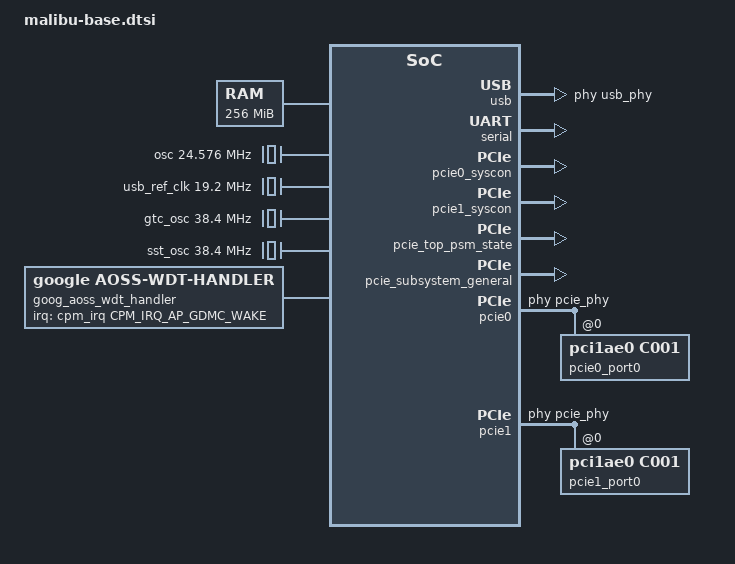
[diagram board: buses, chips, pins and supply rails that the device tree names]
// SPDX-License-Identifier: GPL-2.0 OR BSD-3-Clause

#include <dt-bindings/cap-sysfs/cpu-mbu-power-states.h>
#include <dt-bindings/gpio/gpio.h>
#include <dt-bindings/gpio/google,mbu.h>
#include <dt-bindings/interconnect/google,mbu,irm.h>
#include <dt-bindings/interrupt-controller/irq.h>
#include <dt-bindings/interrupt-controller/irq-cpm-google.h>
#include <dt-bindings/interrupt-controller/arm-gic.h>
#include <dt-bindings/interrupt-controller/mbu-gic.h>
#include <dt-bindings/ip-idle/google,mbu.h>
#include <dt-bindings/lpcm/clock_mbu.h>
#include <dt-bindings/lpcm/pf_state_mbu.h>
#include <dt-bindings/lpcm/reset_mbu.h>
#include <dt-bindings/mailbox/google,mbu.h>
#include <dt-bindings/power/genpd_mbu.h>
#include <dt-bindings/power/syspm/google,mbu.h>
#include <dt-bindings/soc/google/google-wdt-def.h>
#include <dt-bindings/soc/google/keydebug-core-def.h>

// Earlier than all node to be referred
#include "malibu-sswrp.dtsi"
#include "malibu-tpu.dtsi"

#include "malibu-aoc.dtsi"
#include "malibu-audio.dtsi"
#include "malibu-ap-pmic.dtsi"
#include "malibu-cpm-clk.dtsi"
#include "malibu-debug-trace.dtsi"
#include "malibu-dpa.dtsi"
#include "malibu-dpu.dtsi"
#include "malibu-g2d.dtsi"
#include "malibu-gia.dtsi"
#include "malibu-gia-test.dtsi"
#include "malibu-gpdma.dtsi"
#include "malibu-gpu.dtsi"
#include "malibu-gxp.dtsi"
#include "malibu-iif.dtsi"
#include "malibu-interconnect.dtsi"
#include "malibu-isp.dtsi"
#include "malibu-lsios.dtsi"
#include "malibu-mba.dtsi"
#include "malibu-odpm.dtsi"
#include "malibu-pinctrl.dtsi"
#include "malibu-power-domains.dtsi"
#include "malibu-rmem.dtsi"
#include "malibu-smmu.dtsi"
#include "malibu-smmu-perf.dtsi"
#include "malibu-smmu-pmu.dtsi"
#include "malibu-thermal.dtsi"
#include "malibu-towerci.dtsi"
#include "malibu-c3p.dtsi"
#include "malibu-trusty.dtsi"
#include "malibu-dma-heap.dtsi"
#include "malibu-faceauth-dma-heap.dtsi"
#include "malibu-otp.dtsi"
#include "malibu-gsa.dtsi"
#include "malibu-dpm.dtsi"
#include "malibu-wonder.dtsi"

/ {
	build_info = <0x00>;
	compatible = "google,mbu";
	#address-cells = <0x00000002>;
	#size-cells = <0x00000002>;
	interrupt-parent = <&gic>;

	memory: memory@80000000 {
		device_type = "memory";
		reg = <0x00000000 0x80000000 0x00000000 0x10000000>; //256MB for speed
	};

	osc: oscillator {
		#clock-cells = <0>;
		compatible = "fixed-clock";
		clock-frequency = <24576000>;
	};

	timer {
		compatible = "arm,armv8-timer";
		interrupts =
			<GIC_PPI 13 (GIC_CPU_MASK_SIMPLE(1) | IRQ_TYPE_LEVEL_LOW) 0>,  //secure
			<GIC_PPI 14 (GIC_CPU_MASK_SIMPLE(1) | IRQ_TYPE_LEVEL_LOW) 0>,  //NS
			<GIC_PPI 11 (GIC_CPU_MASK_SIMPLE(1) | IRQ_TYPE_LEVEL_LOW) 0>,  //virtual
			<GIC_PPI 10 (GIC_CPU_MASK_SIMPLE(1) | IRQ_TYPE_LEVEL_LOW) 0>;  //hypervisor
	};

	gic: interrupt-controller@9228000 {
		compatible = "arm,gic-v3";
		#interrupt-cells = <0x00000004>;
		#address-cells = <0x00000002>;
		#size-cells = <0x00000002>;
		interrupt-controller;
		ranges;
		reg = <0x0 0x09228000 0 0x00010000>,  // GICD
		      <0x0 0x092a8000 0 0x00200000>,  // GICR
		      <0x0 0x0 0 0x0>,                // GICC
		      <0x0 0x0 0 0x0>,                // GICH
		      <0x0 0x0 0 0x0>;                // GICV
		// Should replace 0 with a ppi-partitions subnode when ppi-partitions are added.
		interrupts = <GIC_PPI 9 IRQ_TYPE_LEVEL_HIGH 0>;
	};

	cpus: cpus {
		#address-cells = <0x00000001>;
		#size-cells = <0x00000000>;

		cpu-map {
			cluster0: cluster0 {
				core0 {
					cpu = <&gelas_ll_0>;
				};
				core1 {
					cpu = <&gelas_ll_1>;
				};
			};

			cluster1: cluster1 {
				core0 {
					cpu = <&gelas_0>;
				};
				core1 {
					cpu = <&gelas_1>;
				};
				core2 {
					cpu = <&gelas_2>;
				};
				core3 {
					cpu = <&gelas_3>;
				};
			};

			cluster2: cluster2 {
				core0 {
					cpu = <&travis_0>;
				};
			};
		};

		gelas_ll_0: cpu@0 {
			device_type = "cpu";
			compatible = "gem5,armv8", "arm,armv8";
			reg = <0x00000000>;
			enable-method = "psci";
			dvfs-helper-domain-name = "cpu0";
			operating-points-v2 = <&cpu_opp_table_mid_ll_core>;
			power-domains = <&CPU_PD0>;
			power-domain-names = "psci";
			capacity-dmips-mhz = <779>;
		};
		gelas_ll_1: cpu@100 {
			device_type = "cpu";
			compatible = "gem5,armv8", "arm,armv8";
			reg = <0x00000100>;
			enable-method = "psci";
			dvfs-helper-domain-name = "cpu0";
			operating-points-v2 = <&cpu_opp_table_mid_ll_core>;
			power-domains = <&CPU_PD1>;
			power-domain-names = "psci";
			capacity-dmips-mhz = <779>;
		};
		gelas_0: cpu@200 {
			device_type = "cpu";
			compatible = "gem5,armv8", "arm,armv8";
			reg = <0x00000200>;
			enable-method = "psci";
			dvfs-helper-domain-name = "cpu1";
			operating-points-v2 = <&cpu_opp_table_mid_core>;
			power-domains = <&CPU_PD2>;
			power-domain-names = "psci";
			capacity-dmips-mhz = <780>;
		};
		gelas_1: cpu@300 {
			device_type = "cpu";
			compatible = "gem5,armv8", "arm,armv8";
			reg = <0x00000300>;
			enable-method = "psci";
			dvfs-helper-domain-name = "cpu1";
			operating-points-v2 = <&cpu_opp_table_mid_core>;
			power-domains = <&CPU_PD3>;
			power-domain-names = "psci";
			capacity-dmips-mhz = <780>;
		};
		gelas_2: cpu@400 {
			device_type = "cpu";
			compatible = "gem5,armv8", "arm,armv8";
			reg = <0x00000400>;
			enable-method = "psci";
			dvfs-helper-domain-name = "cpu1";
			operating-points-v2 = <&cpu_opp_table_mid_core>;
			power-domains = <&CPU_PD4>;
			power-domain-names = "psci";
			capacity-dmips-mhz = <780>;
		};
		gelas_3: cpu@500 {
			device_type = "cpu";
			compatible = "gem5,armv8", "arm,armv8";
			reg = <0x00000500>;
			enable-method = "psci";
			dvfs-helper-domain-name = "cpu1";
			operating-points-v2 = <&cpu_opp_table_mid_core>;
			power-domains = <&CPU_PD5>;
			power-domain-names = "psci";
			capacity-dmips-mhz = <780>;
		};
		travis_0: cpu@600 {
			device_type = "cpu";
			compatible = "gem5,armv8", "arm,armv8";
			reg = <0x00000600>;
			enable-method = "psci";
			dvfs-helper-domain-name = "cpu2";
			operating-points-v2 = <&cpu_opp_table_big_core>;
			power-domains = <&CPU_PD6>;
			power-domain-names = "psci";
			capacity-dmips-mhz = <1024>;
		};

		idle-states {
			entry-method = "psci";

			CPU_LIT_C2: cpu0-idle-state-2 {
				compatible = "arm,idle-state";
				idle-state-name = "cpu-lit-c2";
				arm,psci-suspend-param = <0x40000003>;
				entry-latency-us = <120>;
				exit-latency-us = <300>;
				min-residency-us = <1800>;
				local-timer-stop;
			};
			CPU_MID_C2: cpu1-idle-state-2 {
				compatible = "arm,idle-state";
				idle-state-name = "cpu-mid-c2";
				arm,psci-suspend-param = <0x40000003>;
				entry-latency-us = <120>;
				exit-latency-us = <300>;
				min-residency-us = <1600>;
				local-timer-stop;
			};
			CPU_BIG_C2: cpu2-idle-state-2 {
				compatible = "arm,idle-state";
				idle-state-name = "cpu-big-c2";
				arm,psci-suspend-param = <0x40000003>;
				entry-latency-us = <80>;
				exit-latency-us = <400>;
				min-residency-us = <1300>;
				local-timer-stop;
			};
		};
		domain-idle-states {
			CLUSTER0_C3: cluster0-idle-state-3 {
				compatible = "domain-idle-state";
				idle-state-name = "cluster0-c3";
				arm,psci-suspend-param = <0x40010033>;
				entry-latency-us = <800>;
				exit-latency-us = <700>;
				min-residency-us = <5000>;
				local-timer-stop;
			};
			CLUSTER1_C3: cluster1-idle-state-3 {
				compatible = "domain-idle-state";
				idle-state-name = "cluster1-c3";
				arm,psci-suspend-param = <0x40010033>;
				entry-latency-us = <1000>;
				exit-latency-us = <600>;
				min-residency-us = <5500>;
				local-timer-stop;
			};
			CLUSTER2_C3: cluster2-idle-state-3 {
				compatible = "domain-idle-state";
				idle-state-name = "cluster2-c3";
				arm,psci-suspend-param = <0x40010033>;
				entry-latency-us = <500>;
				exit-latency-us = <1000>;
				min-residency-us = <3000>;
				local-timer-stop;
			};
			CLUSTER_C4_LITE: cluster-idle-state-4-lite {
				compatible = "domain-idle-state";
				idle-state-name = "cluster-c4-lite";
				arm,psci-suspend-param = <0x40020133>;
				entry-latency-us = <1800>;
				exit-latency-us = <2000>;
				min-residency-us = <10000>;
				local-timer-stop;
			};
			CLUSTER_C4_DEEP: cluster-idle-state-4-deep {
				compatible = "domain-idle-state";
				idle-state-name = "cluster-c4-deep";
				arm,psci-suspend-param = <0x40020333>;
				entry-latency-us = <2100>;
				exit-latency-us = <2300>;
				min-residency-us = <12000>;
				local-timer-stop;
			};
			CLUSTER_S3: cluster-idle-state-suspend {
				compatible = "domain-idle-state";
				// TODO(b/291686880): Restore the node
				status = "disabled";
				idle-state-name = "cluster-s3";
				arm,psci-suspend-param = <0x40033333>;
				entry-latency-us = <2147483648>;
				exit-latency-us = <2147483648>;
				min-residency-us = <2147483648>;
				local-timer-stop;
			};
		};

	};
	psci {
		compatible = "arm,psci-1.0";
		method = "smc";

		CPU_PD0: power-domain-cpu0 {
			#power-domain-cells = <0>;
			domain-idle-states = <&CPU_LIT_C2>;
			power-domains = <&CPUCL0>;
		};

		CPU_PD1: power-domain-cpu1 {
			#power-domain-cells = <0>;
			domain-idle-states =  <&CPU_LIT_C2>;
			power-domains = <&CPUCL0>;
		};

		CPU_PD2: power-domain-cpu2 {
			#power-domain-cells = <0>;
			domain-idle-states =  <&CPU_MID_C2>;
			power-domains = <&CPUCL1>;
		};

		CPU_PD3: power-domain-cpu3 {
			#power-domain-cells = <0>;
			domain-idle-states =  <&CPU_MID_C2>;
			power-domains = <&CPUCL1>;
		};

		CPU_PD4: power-domain-cpu4 {
			#power-domain-cells = <0>;
			domain-idle-states =  <&CPU_MID_C2>;
			power-domains = <&CPUCL1>;
		};

		CPU_PD5: power-domain-cpu5 {
			#power-domain-cells = <0>;
			domain-idle-states =  <&CPU_MID_C2>;
			power-domains = <&CPUCL1>;
		};

		CPU_PD6: power-domain-cpu6 {
			#power-domain-cells = <0>;
			domain-idle-states =  <&CPU_BIG_C2>;
			power-domains = <&CPUCL2>;
		};

		CPUCL0: power-domain-cluster-0 {
			#power-domain-cells = <0>;
			domain-idle-states = <&CLUSTER0_C3>;
			power-domains = <&CPU_TOP_CL>;
		};

		CPUCL1: power-domain-cluster-1 {
			#power-domain-cells = <0>;
			domain-idle-states = <&CLUSTER1_C3>;
			power-domains = <&CPU_TOP_CL>;
		};

		CPUCL2: power-domain-cluster-2 {
			#power-domain-cells = <0>;
			domain-idle-states = <&CLUSTER2_C3>;
			power-domains = <&CPU_TOP_CL>;
		};

		CPU_TOP_CL: power-domain-top-cluster {
			#power-domain-cells = <0>;
			domain-idle-states = <&CLUSTER_C4_LITE>, <&CLUSTER_C4_DEEP>;
		};

	};

	gs_domain_idle {
		compatible = "google,gs_domain_idle";

		cpu-cluster-zero {
			power-domains = <&CPUCL0>;
			num-cpu-freq-policies = <1>;
			cpu-freq-policies = <0>;
		};

		cpu-cluster-one {
			power-domains = <&CPUCL1>;
			num-cpu-freq-policies = <1>;
			cpu-freq-policies = <1>;
		};

		cpu_cluster_two: cpu-cluster-two {
			power-domains = <&CPUCL2>;
			num-cpu-freq-policies = <1>;
			cpu-freq-policies = <2>;
		};

		cpu-cluster-top {
			power-domains = <&CPU_TOP_CL>;
			num-cpu-freq-policies = <0>;
		};
	};

	dvfs_helper: dvfs_helper {
		compatible = "google,dvfs-helper";
		mboxes = <&goog_mba_cpm_iface>;
	};

	mbfs_cpm_backend0_label: mbfs_cpm_backend0 {
		compatible = "google,mbfs_cpm_backend";
		mboxes = <&goog_mba_cpm_iface>;
		service-idx = <0x14>;
		status = "disabled";
	};

	cap_sysfs {
		compatible = "google,cap-sysfs";

		cap_statsbuf: cap_statsbuf@21910C08 {
			#address-cells = <2>;
			#size-cells = <2>;
			reg = <0 0x21910C08 0 0x13F8>;
		};

		tfa_cpu_stats: tfa_cpu_stats@8b20f000 {
			reg = <0 0x8b20f000 0 0x1000>;
			states = <C2_CORE0>,
				<C2_CORE1>,
				<C2_CORE2>,
				<C2_CORE3>,
				<C2_CORE4>,
				<C2_CORE5>,
				<C2_CORE6>;

			states-verbose = "C2 - Core 0",
						"C2 - Core 1",
						"C2 - Core 2",
						"C2 - Core 3",
						"C2 - Core 4",
						"C2 - Core 5",
						"C2 - Core 6";
		};
	};

	cpu_opp_table_mid_ll_core: cpu-opp-table-mid-ll-core {
                opp-shared;
        };

        cpu_opp_table_mid_core: cpu-opp-table-mid-core {
                opp-shared;
        };

        cpu_opp_table_big_core: cpu-opp-table-big-core {
                opp-shared;
        };

	irm_gmc_freq: irm_gmc_freq {
		compatible = "google,irm-devfreq";
		irm-client-idx = <IRM_IDX_APC>;
		irm-min-clamp-reg = <0x1c>;
		irm-trigger-reg = <0x24>;
		gmc-memss-table =
			/* gmc		memss */
			/bits/ 64 < 421000000	175000000 >,
			/bits/ 64 < 533000000	175000000 >,
			/bits/ 64 < 666000000	268000000 >,
			/bits/ 64 < 1066000000	537000000 >,
			/bits/ 64 < 1374000000	614000000 >,
			/bits/ 64 < 1500000000	750000000 >,
			/bits/ 64 < 2133000000	844000000 >,
			/bits/ 64 < 2400000000	844000000 >,
			/bits/ 64 < 2764000000	1056000000 >,
			/bits/ 64 < 3199000000	1056000000 >,
			/bits/ 64 < 3750000000	1200000000 >,
			/bits/ 64 < 4224000000	1200000000 >,
			/bits/ 64 < 4800000000	1200000000 >;

		gmc_dvfs {
			dvfs-helper-domain-name = "gmc0";
		};
		memss_dvfs {
			dvfs-helper-domain-name = "memss";
		};

		vote_manager {
			powerhint_min_freq = <1066000000>;
		};
	};

	gs_perf_mon: gs_perf_mon {
		compatible = "google,gs_perf_mon";
		param_ticks_per_counter_update = <2>;
		client_update_backup_us = <10000>;
		client_update_interval_us = <8000>;
		gs_perf_cpu {
			cpu0 {
				cpu_idx = <0>;
				pmu_events {
					l2-cachemiss-ev = <0x17>;
					l3-cachemiss-ev = <0x2A>;
					mem-rd-inst-ev = <0x66>;
					mem-wr-inst-ev = <0x67>;
					cme-inst-ev = <0x3247>;
				};
				amu_events {
					inst-ev = <0x0008>;
					cyc-ev = <0x0011>;
					stall-backend-mem-ev = <0x4005>;
				};
			};
			cpu1 {
				cpu_idx = <1>;
				pmu_events {
					l2-cachemiss-ev = <0x17>;
					l3-cachemiss-ev = <0x2A>;
					mem-rd-inst-ev = <0x66>;
					mem-wr-inst-ev = <0x67>;
					cme-inst-ev = <0x3247>;
				};
				amu_events {
					inst-ev = <0x0008>;
					cyc-ev = <0x0011>;
					stall-backend-mem-ev = <0x4005>;
				};
			};
			cpu2 {
				cpu_idx = <2>;
				pmu_events {
					l2-cachemiss-ev = <0x17>;
					l3-cachemiss-ev = <0x2A>;
					mem-rd-inst-ev = <0x66>;
					mem-wr-inst-ev = <0x67>;
					cme-inst-ev = <0x3247>;
				};
				amu_events {
					inst-ev = <0x0008>;
					cyc-ev = <0x0011>;
					stall-backend-mem-ev = <0x4005>;
				};
			};
			cpu3 {
				cpu_idx = <3>;
				pmu_events {
					l2-cachemiss-ev = <0x17>;
					l3-cachemiss-ev = <0x2A>;
					mem-rd-inst-ev = <0x66>;
					mem-wr-inst-ev = <0x67>;
					cme-inst-ev = <0x3247>;
				};
				amu_events {
					inst-ev = <0x0008>;
					cyc-ev = <0x0011>;
					stall-backend-mem-ev = <0x4005>;
				};
			};
			cpu4 {
				cpu_idx = <4>;
				pmu_events {
					l2-cachemiss-ev = <0x17>;
					l3-cachemiss-ev = <0x2A>;
					mem-rd-inst-ev = <0x66>;
					mem-wr-inst-ev = <0x67>;
					cme-inst-ev = <0x3247>;
				};
				amu_events {
					inst-ev = <0x0008>;
					cyc-ev = <0x0011>;
					stall-backend-mem-ev = <0x4005>;
				};
			};
			cpu5 {
				cpu_idx = <5>;
				pmu_events {
					l2-cachemiss-ev = <0x17>;
					l3-cachemiss-ev = <0x2A>;
					mem-rd-inst-ev = <0x66>;
					mem-wr-inst-ev = <0x67>;
					cme-inst-ev = <0x3247>;
				};
				amu_events {
					inst-ev = <0x0008>;
					cyc-ev = <0x0011>;
					stall-backend-mem-ev = <0x4005>;
				};
			};
			cpu6 {
				cpu_idx = <6>;
				pmu_events {
					l2-cachemiss-ev = <0x17>;
					l3-cachemiss-ev = <0x2A>;
					mem-rd-inst-ev = <0x66>;
					mem-wr-inst-ev = <0x67>;
					cme-inst-ev = <0x3247>;
				};
				amu_events {
					inst-ev = <0x0008>;
					cyc-ev = <0x0011>;
					stall-backend-mem-ev = <0x4005>;
				};
			};
		};
	};

	cmefreq_gov: cmefreq_gov {
		compatible = "google,cmefreq_gov";
		boost_freq = <1920000>;
		base_freq = <0>;

		primary_vote_config {
			vote_name = "cmefreq_gov";
		};

		governor_config {
			cmefreq_gov_little {
				cpulist = <&gelas_ll_0>, <&gelas_ll_1>;
				cpuidle_state_depth_threshold = <2>;
			};
			cmefreq_gov_mid {
				cpulist = <&gelas_0>, <&gelas_1>, <&gelas_2>,
					<&gelas_3>;
				cpuidle_state_depth_threshold = <2>;
			};
			cmefreq_gov_big {
				cpulist = <&travis_0>;
				cpuidle_state_depth_threshold = <2>;
			};
		};
	};

	gs_governor_dsulat: gs-governor-dsulat {
		compatible = "google,gs_governor_dsulat";
		mboxes = <&gs_perf_domain>;

		primary_vote_config {
			vote_name = "dsulat";
		};

		governor_config {
			gs_dsulat_little {
				cpulist = <&gelas_ll_0>, <&gelas_ll_1>;
				cpuidle_state_depth_threshold = <2>;
			};
			gs_dsulat_mid {
				cpulist = <&gelas_0>, <&gelas_1>, <&gelas_2>,
					<&gelas_3>;
				cpuidle_state_depth_threshold = <2>;
			};
			gs_dsulat_big {
				cpulist = <&travis_0>;
				cpuidle_state_depth_threshold = <2>;
			};
		};
	};

	gs_governor_memlat: gs-governor-memlat {
		compatible = "google,gs_governor_memlat";

		primary_vote_config {
			vote_name = "gmclat";
			devfreq = <&irm_gmc_freq>;
		};

		governor_config {
			gs_memlat_little {
				cpulist = <&gelas_ll_0>, <&gelas_ll_1>;
				cpuidle_state_depth_threshold = <2>;
			};
			gs_memlat_mid {
				cpulist = <&gelas_0>, <&gelas_1>, <&gelas_2>,
					<&gelas_3>;
				cpuidle_state_depth_threshold = <2>;
			};
			gs_memlat_big {
				cpulist = <&travis_0>;
				cpuidle_state_depth_threshold = <2>;
			};
		};

		resume-boost {
			freq-khz = <1500000>;
			duration-ms = <80>;
		};
	};

	aliases {
		serial0 = &lsios_uart3;
		serial1 = &aoss_pg_uart0;
		ufs0 = &ufs;
	};

	usb_ref_clk: usb_ref_clk {
		#clock-cells = <0>;
		compatible = "fixed-clock";
		clock-frequency = <19200000>;
	};

	usb_bus_clk: usb_bus_clk {
		#clock-cells = <0>;
		compatible = "fixed-clock";
		clock-frequency = <250000000>;
	};

	usb_suspend_clk: usb_suspend_clk {
		#clock-cells = <0>;
		compatible = "fixed-clock";
		clock-frequency = <200000>;
	};

	simple_usb_bus: simple_usb_bus {
		compatible = "simple-bus";
		#address-cells = <2>;
		#size-cells = <2>;
		dma-ranges = <0x0 0x0 0x0 0x0 0x1 0x0>;
		ranges;
		usb: usb3@a200000 {
			compatible = "google,dwc3-mbu";
			#address-cells = <2>;
			#size-cells = <2>;
			reg = <0 0xa200000 0 0x14>,
			      <0 0xa200020 0 0x8>,
			      <0 0xa200028 0 0x8>;
			reg-names = "usbcs_host_cfg_csr", "usbcs_usbint_csr", "usb_top_cfg_csr";

			clocks = <&hsion_usbc_non_sticky_clk>,  <&hsion_usbc_sticky_clk>,
				<&hsion_usbdp_u2phy_apb_clk>;
			clock-names = "usbc_non_sticky", "usbc_sticky", "u2phy_apb_clk";

			interrupts-extended =
				<&hsion_multicast_aggr_5 HSION_GIA_MULTICAST_AGGR_5_USBDP_TOP_WRPSS_USB_USB_CUSTOM_INT_USBDRD_PME_GEN_U2P_INTR>,
				<&hsion_multicast_aggr_5 HSION_GIA_MULTICAST_AGGR_5_USBDP_TOP_WRPSS_USB_USB_CUSTOM_INT_USBDRD_PME_GEN_U3P_INTR>;
			interrupt-names = "pme_gen_u2p_intr_agg", "pme_gen_u3p_intr_agg";

			resets = <&hsion_resets HSION_USBC_NON_STICKY_RST>,
				<&hsion_resets HSION_USBC_STICKY_RST>,
				<&hsion_resets HSION_USBDP_USBDRD_BUS>,
				<&hsion_resets HSION_USBDP_U2PHY_APB>,
				<&hsion_resets HSION_USBDP_TOP>;
			reset-names = "usbc_non_sticky", "usbc_sticky",
				"usb_drd_bus_rst", "u2phy_apb_rst",
				"usb_top_csr";

			power-domains = <&hsio_n_usb_psw_pd>,<&hsio_n_usb_pd>;
			power-domain-names = "usb_psw_pd", "usb_top_pd";

			phys = <&usb_phy 0>, <&usb_phy 1>;
			phy-names = "usb2-phy", "usb3-phy";

			usb-vc = <1>;

			ranges;
			dwc3: dwc3@a210000 {
				compatible = "snps,dwc3";
				reg = <0 0xa210000  0 0xd060>;
				interrupts-extended = <&hsion_multicast_aggr_5 HSION_GIA_MULTICAST_AGGR_5_USBDP_TOP_WRPSS_USB_DWC_USB31_INTERRUPT_0>;
				clocks = <&usb_ref_clk>, <&usb_bus_clk>, <&usb_suspend_clk>;
				clock-names = "ref", "bus_early", "suspend";
				iommus = <&amb_smmu 0x8200>;
				maximum-speed = "super-speed";
				phys = <&usb_phy 0>, <&usb_phy 1>;
				phy-names = "usb2-phy", "usb3-phy";
				usb-role-switch;
				role-switch-default-mode = "peripheral";
				snps,quirk-frame-length-adjustment = <0xa0>;
				snps,gfladj-refclk-lpm-sel-quirk;
				snps,incr-burst-type-adjustment = <4>;
				dma-coherent;

				/*
				 * 1st is for xhci driver memory allocation on dram,
				 * 2nd is for the memory outside of xhci driver allocation but
				 * HC still needs to access.
				 */
				memory-region = <&xhci_dma_dram>, <&xhci_dma_buffer>;
				num-hc-interrupters = /bits/ 16 <2>;
			};
		};

		usb2_aux: usb2@a2b3088 {
			status = "disabled";

			compatible = "google,dwc3-mbu-aux";
			#address-cells = <2>;
			#size-cells = <2>;
			reg = <0 0x0a2b3088 0 0xc>,
				<0 0x0a2b30b4 0 0x8>,
				<0 0x0a2b3094 0 0x4>;
			reg-names = "usbcs_host_cfg_csr", "usbcs_usbint_csr", "usb_top_cfg_csr";

			clocks = <&hsio_n_usb2aux_ctrl_vcc_non_sticky_clk>,
					 <&hsio_n_usb2aux_ctrl_vaux_sticky_clk>;
			clock-names = "usbc_non_sticky", "usbc_sticky";

			interrupts-extended = <&hsion_multicast_aggr_6
				HSION_GIA_MULTICAST_AGGR_6_USBDP_TOP_USB2AUX_CUSTOM_INT_USBDRD_PME_GEN_U2P_INTR>;
			interrupt-names = "pme_gen_u2p_intr_agg";

			resets = <&hsion_resets HSION_USB2AUX_CTRL_VCC_NON_STICKY>,
				<&hsion_resets HSION_USB2AUX_CTRL_VAUX_STICKY>;
			reset-names = "usbc_non_sticky", "usbc_sticky";
			power-domains = <&hsio_n_usb2aux_psw_pd>,<&hsio_n_usb2aux_pd>;
			power-domain-names = "usb_psw_pd", "usb_top_pd";

			phys = <&usb2_aux_phy 0>;
			phy-names = "usb2-phy";

			usb-vc = <1>; /* Traffic class : Soft Real Time */

			ranges;

			dwc3_aux: dwc3@a480000 {
				compatible = "snps,dwc3";
				reg = <0 0x0a480000 0 0x10000>;
				interrupts-extended = <&hsion_multicast_aggr_6
					HSION_GIA_MULTICAST_AGGR_6_USBDP_TOP_DWC_USB2_SUBSYSTEM_INST_DWC_USB3_DWC_USB3_NOCLKRST_DWC_USB3_PWRM_DWC_USB3_PWRM_CSR_INTERRUPT_0>;
				clocks = <&usb_ref_clk>, <&usb_bus_clk>, <&usb_suspend_clk>;
				clock-names = "ref", "bus_early", "suspend";
				iommus = <&amb_smmu 0x8201>;
				maximum-speed = "high-speed";
				dr_mode = "host";
				phys = <&usb2_aux_phy 0>;
				phy-names = "usb2-phy";
				snps,quirk-frame-length-adjustment = <0xa0>;
				snps,gfladj-refclk-lpm-sel-quirk;
				snps,incr-burst-type-adjustment = <4>;
				/*
				 * 1st is for xhci driver memory allocation,
				 * 2nd is for the memory outside of xhci driver allocation but
				 * HC still needs to access.
				 */
				// memory-region = <&xhci_dma>, <&xhci_aoc_rmem>;
			};
		};
	};

	usb_phy: usb_phy@a1ba000 {
		compatible = "google,usb_phy-mbu";
		reg = <0 0xa1ba000 0 0x2c>, <0 0xa200014 0 0xc>,
		      <0 0xa21d060 0 0x10>, <0 0xa220000 0 0x10000>,
		      <0 0xa230000 0 0x10000>,
		      <0 0xa240000 0 0x1000>, <0 0xa250000 0 0x1000>,
		      <0 0xa260000 0 0x1000>, <0 0xa2b3000 0 0x80>,
		      <0 0xa2b30b0 0 0x4>;
		reg-names = "gp_ss_csr", "usb2_cfg_csr", "dwc3_lcsr_deemph",
			"dptx_phy_regs", "phy_sram", "dptx_tca_regs", "dp_pipe_lane0",
			"dp_pipe_lane1", "dp_top_csr", "upcs_config_reg";
		#phy-cells = <1>;
		clocks = <&hsion_usb2_phy_reset_clk>, <&hsion_usb3dp_phy_reset_clk>;
		clock-names = "usb2_phy_reset_clk", "usb3dp_phy_reset_clk";

		power-domains = <&hsio_n_usb_pd>;
		resets = <&hsion_resets HSION_USB2_PHY_RESET>,
			 <&hsion_resets HSION_USB3DP_PHY_RESET>;
		reset-names = "usb2_phy_reset", "usb3dp_phy_reset";

		fw-name = "usb_phy_fw_2.27.0.bin";
		orientation-switch;
		mode-switch;

		force-u31-war;

		nvmem-cells = <&hsio_n_eusb2_rext_external_mode>,
			      <&hsio_n_eusb2_rext_ctrl>,
			      <&hsio_n_usb3_rext_external_mode>,
			      <&hsio_n_usb3_rext_ctrl>;
		nvmem-cell-names = "usb2_rext_external_mode",
				   "usb2_rext_ctrl",
				   "usb3_rext_external_mode",
				   "usb3_rext_ctrl";
	};

	usb2_aux_phy: usb2_aux_phy@a290000 {
		compatible = "google,usb_phy-mbu-aux";
		reg = <0 0xa290000 0 0x100>, <0 0xa2b3084 0 0x4>;
		reg-names = "usb2_ss", "usb2_cfg_csr";
		#phy-cells = <1>;
		clocks = <&hsio_n_usb2aux_phy_reset_clk>;
		clock-names = "usb2_phy_reset_clk";

		power-domains = <&hsio_n_usb2aux_pd>;

		resets = <&hsion_resets HSION_USB2AUX_PHY_RESET>;
		reset-names = "usb2_phy_reset";

		orientation-switch;
	};

	dwc_dptx: dwc_dptx@a2b4000 {
		compatible = "google,dwc_dptx";
		reg = <0 0xa2b4000 0 0x20000>;
		reg-names = "dptx_regs";

		clocks = <&gpcm_hsion_pll_dp_clk>, <&hsio_n_usbdp_pixel_0_clk>, <&dpu_dp0_pix_clk>,
			 <&hsio_n_usbdp_sclk0_clk>, <&hsio_n_sresetn0_clk>;
		clock-names = "gpcm_pll_dp_clk", "hsion_pix_clk0", "dpu_pix_clk0",
			      "hsion_aud_clk0", "hsion_aud_clk1";

		phys = <&usb_phy 2>;
		phy-names = "dp-phy";

		power-domains = <&hsio_n_dp_pd>, <&dpu_dp0_pd>, <&sswrp_dpu_pd>;
		power-domain-names = "dp_top_pd", "dpu_dp_pd", "sswrp_dpu_pd";

		ports {
			#address-cells = <1>;
			#size-cells = <0>;
			/* input */
			port@0 {
				reg = <0>;
				dptx_port0_in: endpoint {
					remote-endpoint = <&dp_port1_out>;
				};
			};
		};
	};

	dwc_dptx_audio: dwc_dptx-audio {
		status = "disabled";
		#sound-dai-cells = <0>;
		compatible = "google,dwc_dptx_audio";
		id = <0>;
	};

	target_dvfs_fe: target_dvfs_fe_drv {
		compatible = "google,dvfs_frontend";
		mboxes = <&dvfs_helper>,
				<&mbfs_cpm_backend0_label>,
				<&power_controller>;
	};

	gs_perf_domain: gs_perf_domain_drv {
		compatible = "google,gs_perf_domain";
		mbfs-perf-domains-path = "cpm/perf/domains";
		mboxes = <&dvfs_helper>,
				<&mbfs_cpm_backend0_label>,
				<&target_dvfs_fe>;

		dsu_target {
			vote_manager {
				powerhint_min_freq = <691000000>;
			};
		};
	};

	goog_chip_info: goog_chip_info@ebd2000 {
		compatible = "google,chip-info";
		reg = <0x0 0xebd2000 0x0 0x1000>,
		      <0x0 0x9890000 0x0 0x7000>,
		      <0x0 0x3b846000 0x0 0x1000>;
		reg-names = "cpm", "bmsm", "gpcm";

		ids_table: ids_table {
			compatible = "google,mbu_a0_ids";
			google,reg-index = <0>;
			feature-name = "IDS table";
			translator = "ids-translator";
		};

		dvfs_table: dvfs_table {
			compatible = "google,mbu_a0_dvfs";
			google,reg-index = <0>;
			feature-name = "DVFS table";
			translator = "dvfs-translator";
		};

		hw_feature_table: hw_feature_table {
			compatible = "google,mbu_a0_hw_feature";
			google,reg-index = <0>;
			feature-name = "HW feature table";
		};

		device_table: device_table {
			compatible = "google,mbu_a0_ptde";
			google,reg-index = <0>;
			feature-name = "Device table";
			device-table;
			visible-in-prod;
		};

		serial: serial {
			compatible = "google,mbu_a0_serial";
			google,reg-index = <1>;
			feature-name = "Serial table";
			private;
			serial-codes;
		};

		gpcm_asic_id: gpcm_asic_id {
			compatible = "google,mbu_a0_gpcm_asic_id";
			google,reg-index = <2>;
			feature-name = "GPCM ASIC ID";
			translator = "asic-id-translator";
			visible-in-prod;
		};

		ap_rom_patch_ver: ap_rom_patch_ver {
			compatible = "google,mbu_a0_ap_rom_patch_ver";
			google,reg-index = <1>;
			feature-name = "AP ROM patch version";
			visible-in-prod;
		};

		lcs: lcs {
			compatible = "google,mbu_a0_lcs";
			google,reg-index = <1>;
			feature-name = "LCS";
			lcs-state;
			private;
		};

		rto: rto {
			compatible = "google,mbu_b0_rto";
			google,reg-index = <0>;
			feature-name = "rto";
			rto;
			private;
		};
	};

	pcie0_syscon: syscon@49de080 {
		compatible = "google,malibu-pcie-ctrl-power-csr", "syscon";
		reg = <0 0x49de080 0 0xc>;
	};

	pcie1_syscon: syscon@49de0e8 {
		compatible = "google,malibu-pcie-ctrl-power-csr", "syscon";
		reg = <0 0x49de0e8 0 0xc>;
	};

	pcie_top_psm_state: syscon@480a03c {
		compatible = "google,malibu-pcie-top-psm-state", "syscon";
		reg = <0 0x480a03c 0 0x4>;
	};

	pcie_subsystem_general: syscon@4b46000 {
		compatible = "google,malibu-pcie-subsystem-general", "syscon";
		reg = <0 0x4b46000 0 0x1000>;
	};

	pcie_phy: phy@49de000 {
		compatible = "google,pcie-phy";
		reg = <0 0x49de000 0 0x24>,
		      <0 0x4a20000 0 0x14000>,
		      <0 0x4b47000 0 0x1000>;
		reg-names = "top", "phy_sram", "phy";
		#phy-cells = <0>;
		power-domains = <&pcie_top_pd>;
	};

	pcie0: pcie@49de024 {
		compatible = "google,malibu-pcie";
		device_type = "pci";
		bus-range = <0x00 0xff>;
		max-link-speed = <4>;
		google,pcie-subsystem-general = <&pcie_subsystem_general>;
		top-psm-state = <&pcie_top_psm_state>;

		reg = <0 0x49de024 0 0x68>,
		      <0 0x4b40000 0 0x1000>,
		      <0 0x4bee000 0 0xd00>,
		      <0 0x4eee000 0 0x01ff24>,
		      <0 0x480a034 0 0x4>,
		      <4 0x20000000 0 0x100000>;
		reg-names = "top", "sii", "dbi", "atu", "psm_state", "config";

		#address-cells = <3>;
		#size-cells = <2>;
		ranges = <0x01000000 0x0 0x20100000 0x4 0x20100000 0x0 0x00100000>,
			 <0x02000000 0x0 0x20200000 0x4 0x20200000 0x0 0x0fe00000>,
			 <0x03000000 0x4 0x30000000 0x4 0x30000000 0x0 0x10000000>;

		interrupts-extended =
			<&gic GIC_SPI SSWRP_PCIE_PCIE_AP_INTR_NS_PCIE0_MSI_CTRL_INT_VEC_0
			IRQ_TYPE_LEVEL_HIGH 0>,
			<&gic GIC_SPI SSWRP_PCIE_PCIE_AP_INTR_NS_PCIE0_MSI_CTRL_INT_VEC_1
			IRQ_TYPE_LEVEL_HIGH 0>,
			<&gic GIC_SPI SSWRP_PCIE_PCIE_AP_INTR_NS_PCIE0_MSI_CTRL_INT_VEC_2
			IRQ_TYPE_LEVEL_HIGH 0>,
			<&gic GIC_SPI SSWRP_PCIE_PCIE_AP_INTR_NS_PCIE0_MSI_CTRL_INT_VEC_3
			IRQ_TYPE_LEVEL_HIGH 0>,
			<&gic GIC_SPI SSWRP_PCIE_PCIE_AP_INTR_NS_PCIE0_MSI_CTRL_INT_VEC_4
			IRQ_TYPE_LEVEL_HIGH 0>,
			<&gic GIC_SPI SSWRP_PCIE_PCIE_AP_INTR_NS_PCIE0_MSI_CTRL_INT_VEC_5
			IRQ_TYPE_LEVEL_HIGH 0>,
			<&gic GIC_SPI SSWRP_PCIE_PCIE_AP_INTR_NS_PCIE0_MSI_CTRL_INT_VEC_6
			IRQ_TYPE_LEVEL_HIGH 0>,
			<&gic GIC_SPI SSWRP_PCIE_PCIE_AP_INTR_NS_PCIE0_MSI_CTRL_INT_VEC_7
			IRQ_TYPE_LEVEL_HIGH 0>,
			<&pcie_pulse_aggr_2 PCIE_GIA_PULSE_AGGR_2_TOP_WRAPPER_TOP_PCIE0_SMLH_REQ_RST_NOT_INT>,
			<&pcie_multicast_aggr_3 PCIE_GIA_MULTICAST_AGGR_3_TOP_WRAPPER_TOP_PCIE0_LTSSM_INT>,
			<&pcie_multicast_aggr_3 PCIE_GIA_MULTICAST_AGGR_3_TOP_WRAPPER_TOP_PCIE0_PCIE_INT_0>;
		interrupt-names =
			"msi0",
			"msi1",
			"msi2",
			"msi3",
			"msi4",
			"msi5",
			"msi6",
			"msi7",
			"link_down",
			"ltssm_int",
			"aggr_err";

		phys = <&pcie_phy>;
		phy-names = "phy";

		linux,pci-domain = <0>;
		power-domains = <&pcie_ctrl0_pd>;
		google,allow-suspend-in-linkup;

		pinctrl-0 = <&pcie_pcie0_perstn0>, <&pcie_pcie0_clkreq0_func>;
		pinctrl-1 = <&pcie_pcie0_perstn0>, <&pcie_pcie0_clkreq0_idle>;
		pinctrl-2 = <>;
		pinctrl-names = "default", "idle", "init";
		perstn-gpios = <&pcie_pinctrl XPCIE_PCIE0_PERSTN0 GPIO_ACTIVE_LOW>;
		// TODO(b/373994833): Determine and apply suitable value for google,perst-delay-us
		iommu-map = <0x100 &amb_smmu 0x8300 0x1>;
		iommu-nested-translations;

		#interrupt-cells = <1>;
		interrupt-map-mask = <0 0 0 7>;
		interrupt-map = <0 0 0 1
				 &pcie_multicast_aggr_3
				 PCIE_GIA_MULTICAST_AGGR_3_TOP_WRAPPER_TOP_PCIE0_LEGACY_INTA
				 0 0 0 2
				 &pcie_multicast_aggr_3
				 PCIE_GIA_MULTICAST_AGGR_3_TOP_WRAPPER_TOP_PCIE0_LEGACY_INTB
				 0 0 0 3
				 &pcie_multicast_aggr_3
				 PCIE_GIA_MULTICAST_AGGR_3_TOP_WRAPPER_TOP_PCIE0_LEGACY_INTC
				 0 0 0 4
				 &pcie_multicast_aggr_3
				 PCIE_GIA_MULTICAST_AGGR_3_TOP_WRAPPER_TOP_PCIE0_LEGACY_INTD>;

		pcie0_port0: pci@0 {
			compatible = "pci1ae0,c001", "pciclass,0604";
			device_type = "pci";
			reg = <0x0 0x0 0x0 0x0 0x0>;
			bus-range = <0x00 0xff>;

			#address-cells = <3>;
			#size-cells = <2>;
			ranges;
		};
	};

	pcie1: pcie@49de08c {
		compatible = "google,malibu-pcie";
		device_type = "pci";
		bus-range = <0x00 0xff>;
		max-link-speed = <4>;
		google,pcie-subsystem-general = <&pcie_subsystem_general>;
		top-psm-state = <&pcie_top_psm_state>;

		reg = <0 0x49de08c 0 0x68>,
		      <0 0x4b41000 0 0x1000>,
		      <0 0x4fee000 0 0xd00>,
		      <0 0x52ee000 0 0x01ff24>,
		      <0 0x480a038 0 0x4>,
		      <4 0x00000000 0 0x100000>;
		reg-names = "top", "sii", "dbi", "atu", "psm_state", "config";

		#address-cells = <3>;
		#size-cells = <2>;
		ranges = <0x01000000 0x0 0x00100000 0x4 0x00100000 0x0 0x00100000>,
			 <0x02000000 0x0 0x00200000 0x4 0x00200000 0x0 0x0fe00000>,
			 <0x03000000 0x4 0x10000000 0x4 0x10000000 0x0 0x10000000>;

		interrupts-extended =
			<&gic GIC_SPI SSWRP_PCIE_PCIE_AP_INTR_NS_PCIE1_MSI_CTRL_INT_VEC_0
			IRQ_TYPE_LEVEL_HIGH 0>,
			<&gic GIC_SPI SSWRP_PCIE_PCIE_AP_INTR_NS_PCIE1_MSI_CTRL_INT_VEC_1
			IRQ_TYPE_LEVEL_HIGH 0>,
			<&gic GIC_SPI SSWRP_PCIE_PCIE_AP_INTR_NS_PCIE1_MSI_CTRL_INT_VEC_2
			IRQ_TYPE_LEVEL_HIGH 0>,
			<&gic GIC_SPI SSWRP_PCIE_PCIE_AP_INTR_NS_PCIE1_MSI_CTRL_INT_VEC_3
			IRQ_TYPE_LEVEL_HIGH 0>,
			<&gic GIC_SPI SSWRP_PCIE_PCIE_AP_INTR_NS_PCIE1_MSI_CTRL_INT_VEC_4
			IRQ_TYPE_LEVEL_HIGH 0>,
			<&gic GIC_SPI SSWRP_PCIE_PCIE_AP_INTR_NS_PCIE1_MSI_CTRL_INT_VEC_5
			IRQ_TYPE_LEVEL_HIGH 0>,
			<&gic GIC_SPI SSWRP_PCIE_PCIE_AP_INTR_NS_PCIE1_MSI_CTRL_INT_VEC_6
			IRQ_TYPE_LEVEL_HIGH 0>,
			<&gic GIC_SPI SSWRP_PCIE_PCIE_AP_INTR_NS_PCIE1_MSI_CTRL_INT_VEC_7
			IRQ_TYPE_LEVEL_HIGH 0>,
			<&pcie_pulse_aggr_2 PCIE_GIA_PULSE_AGGR_2_TOP_WRAPPER_TOP_PCIE1_SMLH_REQ_RST_NOT_INT>,
			<&pcie_multicast_aggr_3 PCIE_GIA_MULTICAST_AGGR_3_TOP_WRAPPER_TOP_PCIE1_LTSSM_INT>,
			<&pcie_multicast_aggr_3 PCIE_GIA_MULTICAST_AGGR_3_TOP_WRAPPER_TOP_PCIE1_PCIE_INT_0>;
		interrupt-names =
			"msi0",
			"msi1",
			"msi2",
			"msi3",
			"msi4",
			"msi5",
			"msi6",
			"msi7",
			"link_down",
			"ltssm_int",
			"aggr_err";

		phys = <&pcie_phy>;
		phy-names = "phy";

		linux,pci-domain = <1>;
		power-domains = <&pcie_ctrl1_pd>;

		pinctrl-0 = <&pcie_pcie0_perstn1>, <&pcie_pcie0_clkreq1_func>;
		pinctrl-1 = <&pcie_pcie0_perstn1>, <&pcie_pcie0_clkreq1_idle>;
		pinctrl-names = "default", "idle";
		perstn-gpios = <&pcie_pinctrl XPCIE_PCIE0_PERSTN1 GPIO_ACTIVE_LOW>;
		// TODO(b/373994833): Determine and apply suitable value for google,perst-delay-us
		iommu-map = <0x100 &amb_smmu 0x8308 0x1>;

		#interrupt-cells = <1>;
		interrupt-map-mask = <0 0 0 7>;
		interrupt-map = <0 0 0 1
				 &pcie_multicast_aggr_3
				 PCIE_GIA_MULTICAST_AGGR_3_TOP_WRAPPER_TOP_PCIE1_LEGACY_INTA
				 0 0 0 2
				 &pcie_multicast_aggr_3
				 PCIE_GIA_MULTICAST_AGGR_3_TOP_WRAPPER_TOP_PCIE1_LEGACY_INTB
				 0 0 0 3
				 &pcie_multicast_aggr_3
				 PCIE_GIA_MULTICAST_AGGR_3_TOP_WRAPPER_TOP_PCIE1_LEGACY_INTC
				 0 0 0 4
				 &pcie_multicast_aggr_3
				 PCIE_GIA_MULTICAST_AGGR_3_TOP_WRAPPER_TOP_PCIE1_LEGACY_INTD>;

		pcie1_port0: pci@0 {
			compatible = "pci1ae0,c001", "pciclass,0604";
			device_type = "pci";
			reg = <0x0 0x0 0x0 0x0 0x0>;
			bus-range = <0x00 0xff>;

			#address-cells = <3>;
			#size-cells = <2>;
			ranges;
		};
	};

	ufs: ufs@3c2d0000 {
		compatible = "google,ufshc";
		reg = <0x0 0x3c2d0000 0x0 0x3000>,
		      <0x0 0x3c2e0000 0x0 0x718>,
		      <0x0 0x3c2f0000 0x0 0x4>,
		      <0x0 0x3c340000 0x0 0xa000>,
		      <0x0 0x3c34a000 0x0 0x18>,
		      <0x0 0x3c00b108 0x0 0x4>,
		      <0x0 0x3c00c210 0x0 0x4>,
		      <0x0 0x3c00d108 0x0 0x4>;
		reg-names = "ufs_hc", "ufs_top", "ufs_sec", "ufs_phy_sram", "ufs_ss",
		      "psm_status_hsios", "psm_status_ufs_hc", "psm_status_ufs_phy";
		iommus = <&amb_smmu 0x8000>;
		iommu-idmapped;
		iommu-force-cacheable;
		dma-coherent;
		interrupts-extended =
			<&hsios_multicast_aggr_2
				HSIOS_GIA_MULTICAST_AGGR_2_UFS_SD_TOP_UFS_TOP_UFS_SS_SINTERRUPT>,
			<&gic GIC_SPI SSWRP_HSIO_S_HSIOS_AP_INTR_UFS_0 IRQ_TYPE_LEVEL_HIGH 0>,
			<&gic GIC_SPI SSWRP_HSIO_S_HSIOS_AP_INTR_UFS_1 IRQ_TYPE_LEVEL_HIGH 0>,
			<&gic GIC_SPI SSWRP_HSIO_S_HSIOS_AP_INTR_UFS_2 IRQ_TYPE_LEVEL_HIGH 0>,
			<&gic GIC_SPI SSWRP_HSIO_S_HSIOS_AP_INTR_UFS_3 IRQ_TYPE_LEVEL_HIGH 0>,
			<&gic GIC_SPI SSWRP_HSIO_S_HSIOS_AP_INTR_UFS_4 IRQ_TYPE_LEVEL_HIGH 0>,
			<&gic GIC_SPI SSWRP_HSIO_S_HSIOS_AP_INTR_UFS_5 IRQ_TYPE_LEVEL_HIGH 0>,
			<&gic GIC_SPI SSWRP_HSIO_S_HSIOS_AP_INTR_UFS_6 IRQ_TYPE_LEVEL_HIGH 0>,
			<&gic GIC_SPI SSWRP_HSIO_S_HSIOS_AP_INTR_UFS_7 IRQ_TYPE_LEVEL_HIGH 0>,
			<&gic GIC_SPI SSWRP_HSIO_S_HSIOS_AP_INTR_UFS_8 IRQ_TYPE_LEVEL_HIGH 0>,
			<&gic GIC_SPI SSWRP_HSIO_S_HSIOS_AP_INTR_UFS_9 IRQ_TYPE_LEVEL_HIGH 0>,
			<&gic GIC_SPI SSWRP_HSIO_S_HSIOS_AP_INTR_UFS_10 IRQ_TYPE_LEVEL_HIGH 0>,
			<&gic GIC_SPI SSWRP_HSIO_S_HSIOS_AP_INTR_UFS_11 IRQ_TYPE_LEVEL_HIGH 0>,
			<&gic GIC_SPI SSWRP_HSIO_S_HSIOS_AP_INTR_UFS_12 IRQ_TYPE_LEVEL_HIGH 0>,
			<&gic GIC_SPI SSWRP_HSIO_S_HSIOS_AP_INTR_UFS_13 IRQ_TYPE_LEVEL_HIGH 0>,
			<&gic GIC_SPI SSWRP_HSIO_S_HSIOS_AP_INTR_UFS_14 IRQ_TYPE_LEVEL_HIGH 0>,
			<&gic GIC_SPI SSWRP_HSIO_S_HSIOS_AP_INTR_UFS_15 IRQ_TYPE_LEVEL_HIGH 0>;
		power-domains = <&hsio_s_ufs_prep_pd>, <&hsio_s_ufs_pd>, <&CPU_TOP_CL>;
		power-domain-names = "ufs_prep_pd", "ufs_pd", "cpu_top_cl";

		clocks = <&hsios_gpio_ref_clk>, <&hsios_mphy_ref_clk>, <&hsios_cp_core_clk>, <&hsios_ufs_deep_h8_clk>;
		clock-names = "gpio_ref_clk", "mphy_ref_clk", "cp_core_clk", "deep_h8_clk";
		mboxes = <&goog_mba_cpm_iface>;

		/* TODO(b/413561944): Check dts settings */

		resets = <&hsios_resets HSIOS_UFS_PHY_RESET>;
		reset-names = "phy_rst";
		pinctrl-0 = <&hsios_ufs_resetb>, <&hsios_ufs_pwr_en>, <&hsios_ufs_lss>;
		pinctrl-1 = <&hsios_stby_ufs_refclk>;
		pinctrl-2 = <&hsios_stby_ufs_refclk_sleep>;
		pinctrl-names = "default", "refclk_on", "refclk_off";
		reset-gpios = <&hsios_pinctrl XHSIOS_UFS_RESETB GPIO_ACTIVE_HIGH>;
		power-gpios = <&hsios_pinctrl XHSIOS_UFS_PWR_EN GPIO_ACTIVE_HIGH>;
		lss-gpios = <&hsios_pinctrl XHSIOS_UFS_LSS GPIO_ACTIVE_HIGH>;

		vdd0p75-supply = <&ldo_1s_reg>;
		/* Voltage supply for UFS PHY AON*/
		vdd1p2-supply = <&ldo_24s_reg>;
		/* Voltage supply for UFS Flash */
		vcc-supply = <&buck_11s_reg>;
		vccq-supply = <&buck_13s_reg>;
		/* Auto Hibern8 settings */
		ah8-timer-scale = <1>;
		ah8-idle-timer-value = <100>;

		google,enable-local-rpm;
		google,enable-phy-calibration;
		google,enable-hc-swh8-pg;
		google,enable-hc-ah8-pg;
		google,enable-refclk-acg;
		/* TODO(b/429964837): DBL should control this property */
		/* google,enable-hs-lss; */
		google,decouple-ufs-en;
		google,skip-cport-setup;
		google,mphy-pmc-war;
		google,rext-internal;

		read-boost-devfreq-names = "fabsyss", "fabhbw", "memss", "gmc", "fabstby", "dsu", "cpuacc";
		read-boost-devfreq-maxfreqs = <400000 1066000 1056000 4224000 576000 1920000 533000>;

		gsa-device = <&gsa>;
		ip-idle-index = <IP_IDLE_IDX_UFS>;
	};

	powerdashboard: powerdashboard {
		compatible = "google,power-dashboard";
		mboxes = <&goog_mba_cpm_iface>;
		sampling-rate-us = <100000>;
	};

	cpm_rst: cpm_rst {
		compatible = "google,cpm-rst";
		mboxes = <&goog_mba_cpm_iface>;

		hsion_resets: hsion_resets {
			#reset-cells = <1>;
			lpcm-id = <LPCM_HSIO_N>;
			reset-num = <HSION_RST_NUMBER>;
		};

		hsios_resets: hsios_resets {
			#reset-cells = <1>;
			lpcm-id = <LPCM_HSIO_S>;
			reset-num = <HSIOS_RST_NUMBER>;
		};

		lsio_s_resets: lsio-s-resets {
			#reset-cells = <1>;
			lpcm-id = <LPCM_LSIO_S>;
			reset-num = <LSIO_S_RST_NUMBER>;
		};

		lsio_e_resets: lsio-e-resets {
			#reset-cells = <1>;
			lpcm-id = <LPCM_LSIO_E>;
			reset-num = <LSIO_E_RST_NUMBER>;
		};

		aoss_pg_amb_resets: aoss-pg-amb-resets {
			#reset-cells = <1>;
			lpcm-id = <LPCM_AOSS_PG>;
			reset-num = <AOSS_PG_AMB_RST_NUMBER>;
		};

		pcie_resets: pcie-resets {
			#reset-cells = <1>;
			lpcm-id = <LPCM_PCIE>;
			reset-num = <PCIE_RST_NUMBER>;
		};

		codec_3p_resets: codec-3p-resets {
			#reset-cells = <1>;
			lpcm-id = <LPCM_CODEC_3P>;
			reset-num = <CODEC_3P_RST_NUMBER>;
		};
	};

	cpm {
		compatible = "syscon", "simple-mfd";
	};

	google_mitigation: google-mitigation {
		mba-dest-service-id = <MBOX_SERVICE_ID_BCL>;
		mba-pmic-dest-channel = <MBOX_DEST_CHAN_DA9188_REGULATOR>;
	};

	cpm_irq: cpm_irq {
		compatible = "google,cpm-irq";
		mboxes = <&goog_mba_cpm_iface>;

		interrupt-controller;
		#interrupt-cells = <2>;
	};

	clocks: clocks {
		gtc_osc: gtc-osc {
			#clock-cells = <0>;
			compatible = "fixed-clock";
			clock-frequency = <38400000>;
		};

		sst_osc: sst-osc {
			#clock-cells = <0>;
			compatible = "fixed-clock";
			clock-frequency = <38400000>;
		};
	};

	sst: sst@200c1000 {
		compatible = "google,sst";
		reg = <0 0x200c1000 0 0x00003000>;

		clocks = <&gtc_osc>, <&sst_osc>;
		clock-names = "gtc", "sst_1";

		timer-cnt = <1>;
		interrupts = <GIC_SPI SSWRP_APC_TIMER1_INTR IRQ_TYPE_LEVEL_HIGH 0>;
	};

	wdt0: watchdog_cl0@200c4000 {
		compatible = "google,wdt";
		reg = <0 0x200c4000 0 0x00001000>;
		clocks = <&gtc_osc>;
		timeout-sec = <24>;
		/*
		 * EXPIRY_ACTION decides the interrupt is routed to ap(0) or GDMC(1)
		 * WDT0 raises an interrupt to AP. When WDT0 expired, it will trigger
		 * a FIQ to EL3, EL3 will get a call stack for all cores.
		 */
		expiry-action = /bits/ 8 <EXPIRY_ACTION_AP>;
		use-syscore-pm;
		key-unlock = <0x00c0ffee>;
		key-lock = <0x00000000>;
	};

	wdt1: watchdog_cl1@200c5000 {
		compatible = "google,wdt";
		reg = <0 0x200c5000 0 0x00001000>;
		clocks = <&gtc_osc>;
		timeout-sec = <30>;
		/*
		 * EXPIRY_ACTION decides the interrupt is routed to ap(0) or GDMC(1)
		 * When WDT1 expired, it will raise an interrupt which should be routed
		 * to GDMC M55 to do the system reset.
		 */
		expiry-action = /bits/ 8 <EXPIRY_ACTION_GDMC>;
		use-syscore-pm;
		key-unlock = <0x00c0ffee>;
		key-lock = <0x00000000>;
	};

	cpu_lpm_stats: cpu_lpm_stats {
		compatible = "google,cpu-lpm-stats";

		power-domain-cpu0 {
			power-domains = <&CPU_PD0>;
			power-state = <C2_CORE0>;
		};

		power-domain-cpu1 {
			power-domains = <&CPU_PD1>;
			power-state = <C2_CORE1>;
		};

		power-domain-cpu2 {
			power-domains = <&CPU_PD2>;
			power-state = <C2_CORE2>;
		};

		power-domain-cpu3 {
			power-domains = <&CPU_PD3>;
			power-state = <C2_CORE3>;
		};

		power-domain-cpu4 {
			power-domains = <&CPU_PD4>;
			power-state = <C2_CORE4>;
		};

		power-domain-cpu5 {
			power-domains = <&CPU_PD5>;
			power-state = <C2_CORE5>;
		};

		power-domain-cpu6 {
			power-domains = <&CPU_PD6>;
			power-state = <C2_CORE6>;
		};

		power-domain-cluster-0 {
			power-domains = <&CPUCL0>;
			power-state = <C3_CLUSTER0>;
		};

		power-domain-cluster-1 {
			power-domains = <&CPUCL1>;
			power-state = <C3_CLUSTER1>;
		};

		power-domain-cluster-2 {
			power-domains = <&CPUCL2>;
			power-state = <C3_CLUSTER2>;
		};

		power-domain-top-cluster {
			power-domains = <&CPU_TOP_CL>;
			power-state = <C4_LITE>, <C4_DEEP>;
		};
	};

	hardlockup-watchdog {
		compatible = "google,hardlockup-watchdog";
		sampling_time = <4>;
		opportunity_count = <3>;
		panic = <1>;
	};

	gcdd: gcdd {
		compatible = "google,crash-debug-dump";
		freq-names = "LIT", "MID0", "MID1", "BIG";
		memory-region = <&cdd_header>, <&log_kevents>;
		apc-wdt-sub-reason = <0xeb8c004>; // CPM BREADCRUMB2
		panic-action = <GO_DEFAULT_ID>;
		wdt-handle = <&wdt1>;
	};

	gvdu: gvdu {
		compatible = "google,volatile-debug-unlock";
		gdmc-iface = <&goog_mba_gdmc_iface>;
		memory-region = <&gvdu_dma_region>;
		vdu-directive-max-size = <0x00004F20>;
		default-debug-vector = "F4FFFFFFFFFFFFFFFFFFFFCF0F000000";
		default-policy-type = "POLICY_TYPE_MBU_RAMDUMP",
				      "POLICY_TYPE_MBU_DEV_AP";
	};

	modem_uart: modem_uart {
		compatible = "google,modem-uart";
		gdmc-iface = <&goog_mba_gdmc_iface>;
		memory-region = <&gdmc_metrics_dma_buffer>;
		buffer-offset = <0x2000>;
		buffer-size = <0x2000>;
	};

	fwmt: fwmt {
		compatible = "google,fwmt-gdmc";
		gdmc-iface = <&goog_mba_gdmc_iface>;
		mboxes = <&goog_mba_cpm_iface>;
		memory-region = <&gdmc_metrics_dma_buffer>;
		buffer-offset = <0x0>;
		buffer-size = <0x2000>;
	};

	debug_kinfo: debug_kinfo {
		compatible = "google,debug-kinfo";
		memory-region = <&debug_kinfo_reserved>;
	};

	pixel_debug_kinfo: pixel_debug_kinfo {
		compatible = "google,pixel-debug-kinfo";
		memory-region = <&debug_kinfo_reserved>;
	};

	pixel_reboot: pixel_reboot {
		compatible = "google,pixel-reboot-v3";
	};

	gs_debug_test: gs_debug_test {
		compatible = "google,gs-debug-test";
		reg = <0x0 0x0ebe6000 0x0 0x00001000>;
		reg-names = "cpm_grm_base";
		cpm_sw_crst_ctrl_offset = <0x38>;
		nr_cpu = <0x7>;
		nr_little_cpu = <0x2>;
		nr_mid_cpu = <0x4>;
		nr_big_cpu = <0x1>;
		little_cpu_start = <0x0>;
		mid_cpu_start = <0x2>;
		big_cpu_start = <0x6>;
	};

	arm_pmu {
		compatible = "arm,armv8-pmuv3";
		// Should replace 0 with a ppi-partitions subnode when ppi-partitions are added.
		interrupts = <GIC_PPI 7 (GIC_CPU_MASK_SIMPLE(8) | IRQ_TYPE_LEVEL_HIGH) 0>;
	};

	dsu_pmu: dsu-pmu {
		compatible = "arm,dsu-pmu";
		interrupts = <GIC_SPI SSWRP_APC_NCLUSTERPMUIRQ IRQ_TYPE_LEVEL_HIGH 0>;
		cpus = <&gelas_ll_0>, <&gelas_ll_1>,                    // cluster0
		       <&gelas_0>, <&gelas_1>, <&gelas_2>, <&gelas_3>,  // cluster1
		       <&travis_0>;                                     // cluster2
	};

	spe-pmu {
		compatible = "arm,statistical-profiling-extension-v1";
		interrupts = <GIC_PPI 5 (GIC_CPU_MASK_SIMPLE(7) | IRQ_TYPE_LEVEL_HIGH) 0>;
	};

	odm: odm {
		compatible = "simple-bus";
		#address-cells = <0x00000002>;
		#size-cells = <0x00000002>;
		ranges;
	};

	gdmc_dhub: gdmc_dhub {
		compatible = "google,gdmc-dhub-gen2";
		gdmc-iface = <&goog_mba_gdmc_iface>;
	};

	fwtp_cpm: fwtp_cpm {
		compatible = "google,fwtp-cpm";
		mboxes = <&goog_mba_cpm_iface>;
		mba-dest-channel = <MBOX_DEST_CHAN_CPM_FWTP>;
		memory-region = <&cpm_tracepoint_ipc_dma_buff>;
		tracepoint-list = "cpm", "cap", "vfa";
	};

	fwtp_gdmc: fwtp_gdmc {
		compatible = "google,fwtp-gdmc";
		gdmc-iface = <&goog_mba_gdmc_iface>;
		memory-region = <&gdmc_tracepoint_dma_buff>;
	};

	google_gem {
		compatible = "google,gem";
		memory-region = <&google_gem_dma_region>;
		gdmc-iface = <&goog_mba_gdmc_iface>;
	};

	hardlockup_debugger: hardlockup-debugger {
		compatible = "google,hardlockup-debug";
		use_multistage_wdt_irq = <256>;
	};

	keydebug {
		compatible = "keydebug";
		key_down_delay = <6000>;
		keys_down = <116 115>;
		dbg_fn_delay = <2000>;
		bind_s2x_version = <BIND_S2X_VERSION_2>;
	};

	power_keydebug {
		compatible = "power-keydebug";
	};

	skip_s2m_voter: skip-s2m-voter {
		compatible = "google,skip-s2m-voter";
		gdmc-iface = <&goog_mba_gdmc_iface>;
	};

	ehld_coreinstr: ehld-coreinstr {
		compatible = "google,ehld-coreinstr";
		gdmc-iface = <&goog_mba_gdmc_iface>;

		clocks = <&cpu_sswrp_tss_clk>;
		clock-names = "tss_clk";

		interval = <1000>;
		warn-count = <4>;
		#address-cells = <1>;
		#size-cells = <1>;
		sgi_base {
			reg = <0x92b8000 0x10000>,
				<0x92f8000 0x10000>,
				<0x9338000 0x10000>,
				<0x9378000 0x10000>,
				<0x93b8000 0x10000>,
				<0x93f8000 0x10000>,
				<0x9438000 0x10000>;
		};
		coreinstret_base {
			reg = <0x200c07c0 0x20>;
		};
		coreinstr_base {
			reg = <0x200c0504 0x24>;
		};
		pmu_base {
			reg = <0x228A0000 0x1000>,
				<0x22920000 0x1000>,
				<0x229A0000 0x1000>,
				<0x22A20000 0x1000>,
				<0x22AA0000 0x1000>,
				<0x22B20000 0x1000>,
				<0x22BA0000 0x1000>;
		};
	};

	goog_aoss_wdt_handler: goog_aoss_wdt_handler {
		compatible = "google,aoss-wdt-handler";
		wakeup-source;
		interrupt-parent = <&cpm_irq>;
		interrupts = <CPM_IRQ_AP_GDMC_WAKE IRQ_TYPE_NONE>;
	};

	pkvm_assignable_devices {
		compatible = "pkvm,device-assignment";
		devices = <&guest0_tpu_mailboxes 0>;
	};
};
